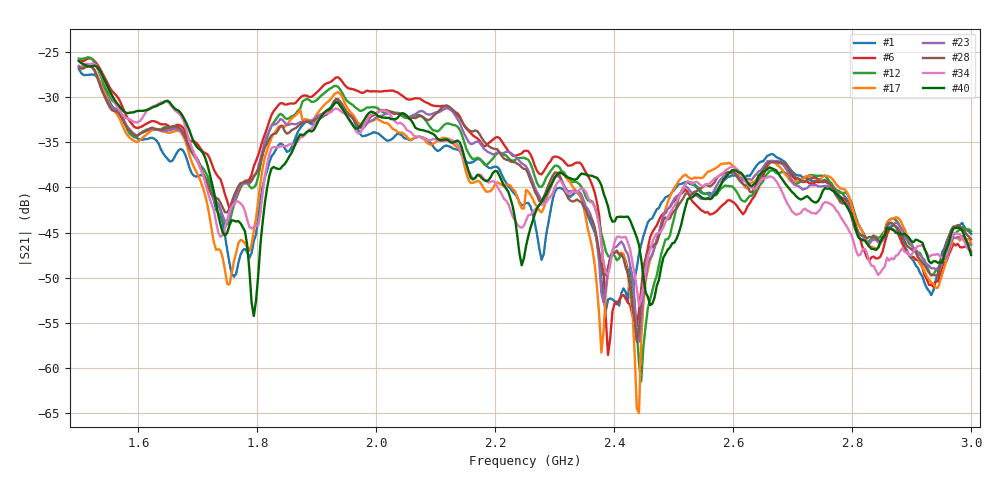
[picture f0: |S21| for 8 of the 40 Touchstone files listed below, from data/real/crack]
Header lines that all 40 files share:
# HZ S RI R 50
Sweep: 1.5 GHz to 3 GHz
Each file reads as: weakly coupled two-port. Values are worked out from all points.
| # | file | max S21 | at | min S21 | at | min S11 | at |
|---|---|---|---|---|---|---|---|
| 1 | Crack_005.s2p | -26.90 dB | 1.5 GHz | -53.7 dB | 2.386 GHz | -43.4 dB | 2.356 GHz |
| 2 | Crack_007.s2p | -26.71 dB | 1.5 GHz | -51.9 dB | 2.431 GHz | -44.1 dB | 2.356 GHz |
| 3 | Crack_008.s2p | -26.54 dB | 1.5 GHz | -51.9 dB | 2.94 GHz | -46.8 dB | 2.356 GHz |
| 4 | Crack_009.s2p | -27.31 dB | 1.522 GHz | -61.0 dB | 2.419 GHz | -42.7 dB | 2.356 GHz |
| 5 | Crack_011.s2p | -27.55 dB | 1.522 GHz | -56.5 dB | 2.431 GHz | -45.6 dB | 2.356 GHz |
| 6 | Crack_013.s2p | -25.70 dB | 1.519 GHz | -58.5 dB | 2.39 GHz | -46.3 dB | 2.356 GHz |
| 7 | Crack_014.s2p | -25.11 dB | 1.519 GHz | -59.1 dB | 2.434 GHz | -49.9 dB | 2.356 GHz |
| 8 | Crack_015.s2p | -25.28 dB | 1.519 GHz | -67.2 dB | 2.442 GHz | -48.6 dB | 2.356 GHz |
| 9 | Crack_018.s2p | -25.54 dB | 1.519 GHz | -64.7 dB | 2.442 GHz | -45.8 dB | 2.356 GHz |
| 10 | Crack_020.s2p | -25.48 dB | 1.5 GHz | -58.6 dB | 2.438 GHz | -49.0 dB | 2.356 GHz |
| 11 | Crack_023.s2p | -25.97 dB | 1.519 GHz | -63.0 dB | 2.438 GHz | -47.2 dB | 2.356 GHz |
| 12 | Crack_024.s2p | -25.60 dB | 1.515 GHz | -61.5 dB | 2.445 GHz | -48.1 dB | 2.356 GHz |
| 13 | Crack_028.s2p | -25.49 dB | 1.5 GHz | -63.2 dB | 2.442 GHz | -47.3 dB | 2.356 GHz |
| 14 | Crack_029.s2p | -25.89 dB | 1.5 GHz | -61.6 dB | 2.442 GHz | -50.8 dB | 2.356 GHz |
| 15 | Crack_030.s2p | -26.33 dB | 1.5 GHz | -58.3 dB | 2.442 GHz | -51.2 dB | 2.356 GHz |
| 16 | Crack_031.s2p | -26.86 dB | 1.519 GHz | -55.4 dB | 2.39 GHz | -41.6 dB | 2.356 GHz |
| 17 | Crack_033.s2p | -26.49 dB | 1.515 GHz | -65.0 dB | 2.442 GHz | -41.4 dB | 2.356 GHz |
| 18 | Crack_036.s2p | -26.46 dB | 1.515 GHz | -58.3 dB | 2.382 GHz | -39.1 dB | 2.356 GHz |
| 19 | Crack_038.s2p | -26.93 dB | 1.519 GHz | -56.1 dB | 2.382 GHz | -39.7 dB | 2.356 GHz |
| 20 | Crack_039.s2p | -26.62 dB | 1.519 GHz | -55.0 dB | 2.442 GHz | -39.8 dB | 2.356 GHz |
| 21 | Crack_040.s2p | -26.53 dB | 1.5 GHz | -61.4 dB | 2.442 GHz | -41.5 dB | 2.356 GHz |
| 22 | Crack_044.s2p | -26.86 dB | 1.519 GHz | -60.6 dB | 2.442 GHz | -41.9 dB | 2.356 GHz |
| 23 | Crack_045.s2p | -26.55 dB | 1.5 GHz | -57.1 dB | 2.442 GHz | -41.3 dB | 2.356 GHz |
| 24 | Crack_046.s2p | -26.46 dB | 1.519 GHz | -68.1 dB | 2.438 GHz | -40.2 dB | 2.356 GHz |
| 25 | Crack_047.s2p | -26.24 dB | 1.515 GHz | -60.3 dB | 2.438 GHz | -40.3 dB | 2.356 GHz |
| 26 | Crack_048.s2p | -26.39 dB | 1.515 GHz | -57.4 dB | 2.438 GHz | -39.6 dB | 2.356 GHz |
| 27 | Crack_049.s2p | -26.46 dB | 1.519 GHz | -57.8 dB | 2.438 GHz | -39.8 dB | 2.356 GHz |
| 28 | Crack_050.s2p | -26.52 dB | 1.519 GHz | -57.1 dB | 2.438 GHz | -41.3 dB | 2.356 GHz |
| 29 | Crack_051.s2p | -26.27 dB | 1.519 GHz | -54.1 dB | 2.442 GHz | -44.4 dB | 2.356 GHz |
| 30 | Crack_057.s2p | -25.50 dB | 1.522 GHz | -52.0 dB | 2.445 GHz | -38.2 dB | 2.23 GHz |
| 31 | Crack_060.s2p | -25.53 dB | 1.5 GHz | -53.1 dB | 1.787 GHz | -39.9 dB | 2.23 GHz |
| 32 | Crack_064.s2p | -26.21 dB | 1.5 GHz | -53.2 dB | 2.442 GHz | -41.8 dB | 2.23 GHz |
| 33 | Crack_067.s2p | -25.87 dB | 1.5 GHz | -55.5 dB | 2.442 GHz | -40.0 dB | 2.23 GHz |
| 34 | Crack_068.s2p | -25.98 dB | 1.5 GHz | -53.1 dB | 2.442 GHz | -40.8 dB | 2.36 GHz |
| 35 | Crack_071.s2p | -25.66 dB | 1.5 GHz | -51.5 dB | 2.449 GHz | -37.4 dB | 2.23 GHz |
| 36 | Crack_074.s2p | -25.89 dB | 1.5 GHz | -50.0 dB | 2.244 GHz | -37.5 dB | 2.23 GHz |
| 37 | Crack_075.s2p | -26.10 dB | 1.5 GHz | -50.5 dB | 2.84 GHz | -39.0 dB | 2.23 GHz |
| 38 | Crack_082.s2p | -25.74 dB | 1.5 GHz | -51.8 dB | 1.798 GHz | -40.7 dB | 2.23 GHz |
| 39 | Crack_084.s2p | -26.43 dB | 1.5 GHz | -56.4 dB | 1.801 GHz | -37.8 dB | 2.23 GHz |
| 40 | Crack_087.s2p | -26.03 dB | 1.5 GHz | -54.2 dB | 1.794 GHz | -38.8 dB | 2.23 GHz |
